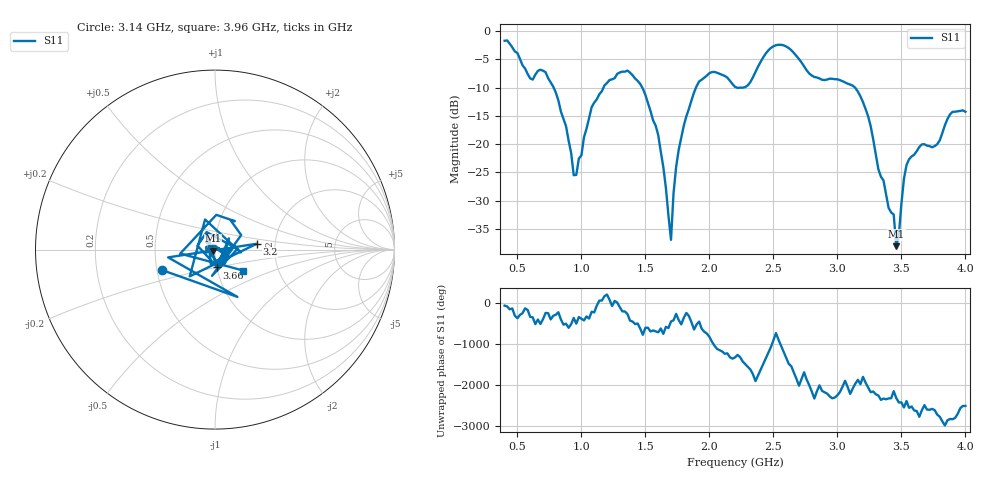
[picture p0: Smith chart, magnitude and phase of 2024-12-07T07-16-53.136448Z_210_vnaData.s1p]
!Created with skrf (http://scikit-rf.org).
# Hz S RI R 50.0
!freq ReS11 ImS11
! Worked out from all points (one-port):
!   181 points, 400 MHz to 4 GHz, reference 50 ohm
!   lowest |S11| = -38.1 dB at 3.46 GHz (marker M1), VSWR 1.03, Z = 48.9 - j0.618 ohm
!   |S11| at or under -10 dB: 783.4 MHz to 1.172 GHz (388.9 MHz wide, 39.8 % of centre); 1.476 GHz to 1.895 GHz (419.3 MHz wide, 24.9 % of centre); 3.138 GHz to end of sweep (the widest 3 of 4)
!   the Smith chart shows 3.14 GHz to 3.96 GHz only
!   S11 on the Smith chart (normalised r, x): 3.14 GHz: 0.53, -0.14; 3.2 GHz: 1.60, +0.11; 3.66 GHz: 1.00, -0.20; 3.96 GHz: 1.33, -0.32
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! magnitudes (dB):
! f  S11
! 400 MHz  -1.7
! 600 MHz  -8.4
! 720 MHz  -7.3
! 860 MHz  -15.5
! 960 MHz  -25.4
! 1.08 GHz  -13.5
! 1.3 GHz  -7.3
! 1.46 GHz  -9.4
! 1.58 GHz  -16.7
! 1.64 GHz  -24.1
! 1.7 GHz  -36.9
! 1.72 GHz  -28.6
! 1.76 GHz  -21.0
! 1.92 GHz  -8.9
! 2.2 GHz  -9.9
! 2.5 GHz  -2.7
! 2.66 GHz  -3.9
! 3.1 GHz  -9.4
! 3.14 GHz  -10.0
! 3.2 GHz  -12.6
! 3.44 GHz  -32.5
! 3.46 GHz  -38.1
! 3.52 GHz  -26.1
! 3.56 GHz  -22.7
! 3.66 GHz  -20.0
! 3.78 GHz  -20.0
! 3.96 GHz  -14.1
! 4 GHz  -14.3
